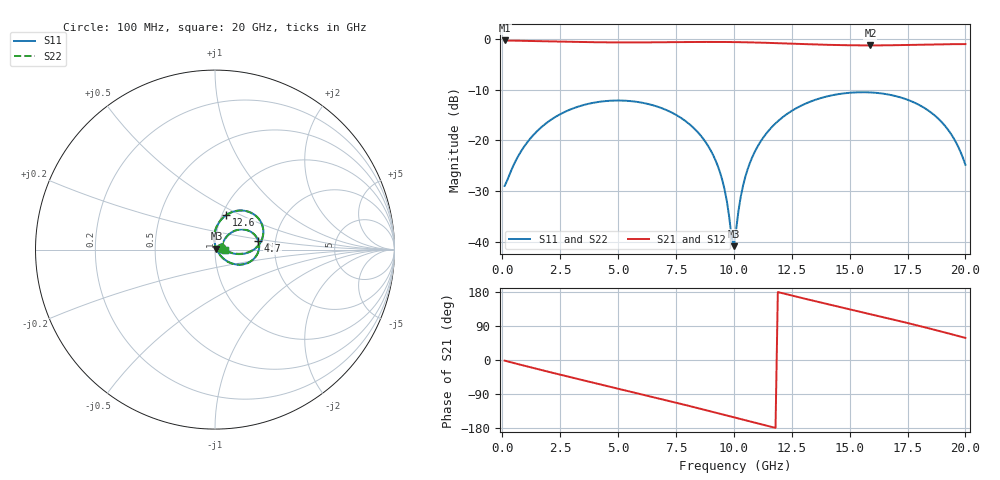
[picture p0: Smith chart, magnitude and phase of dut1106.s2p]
! Touchstone file exported from HFSS 2026.1.0
!  File:  C:/ffzhzh/LocalFiles/Ansys_Project_Files/temp_train_TSV_RDL_1106_1783304265_38704.aedt
!  Generated:  10:26:08 AM Jul  6, 2026
!  Design:  TSV_RDL
!  Project:  temp_train_TSV_RDL_1106_1783304265_38704
! Variables:
!  h_bsmrdl = 3.58um
!  h_ox = 20um
!  h_rdl = 5um
!  h_sub = 62.9um
!  h_tmrdl = 3.57um
!  h_tsv = 62.9um
!  h_via = 3um
!  l_bsmrdl = 460.75um
!  l_sub = 4449.73um
!  l_tmrdl = 647.58um
!  m_sub = 200um
!  pitch = 24.69um
!  r_tsv = 11.22um
!  s_tmrdl = 10um
!  w_bsmrdl = 15.72um
!  w_sub = 500um
!  w_tmrdl = 10um
!  x_tsv_center1 = 652.58um
!  x_tsv_center2 = 1129.05um
!  x_tsv_center3 = 1786.63um
!  x_tsv_center4 = 2263.1um
!  x_tsv_center5 = 2920.68um
!  x_tsv_center6 = 3397.15um
# GHz S MA R 50.000000
! Terminal data exported
! Port[1] = TM_RDL1_1_T1
! Port[2] = TM_RDL5_1_T1
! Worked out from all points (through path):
!   200 points, 100 MHz to 20 GHz, reference 50 ohm
!   highest |S21| = -0.30 dB at 100 MHz (marker M1); lowest = -1.3 dB at 15.9 GHz (marker M2)
!   group delay of S21, straight-line fit = 41.7 ps
!   lowest |S11| = -40.8 dB at 10 GHz (marker M3), VSWR 1.02, Z = 50.8 + j0.49 ohm
!   |S11| at or under -10 dB: start of sweep to end of sweep
!   |S22| runs from -41.4 to -10.5 dB; largest |S21 - S12| = 1.7e-14
!   S11 on the Smith chart (normalised r, x): 100 MHz: 1.07, +0.02; 4.7 GHz: 1.63, +0.16; 12.6 GHz: 1.05, +0.42; 20 GHz: 1.12, -0.01
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0.1  0.03566 13.9  0.9656 -1.7  0.9656 -1.7  0.03566 13.9
! Gamma 0 0 0 0
! Port Impedance 50 0 50 0
0.7  0.07093 45.2  0.959 -11.2  0.959 -11.2  0.07094 45.2
1.4  0.1168 47.5  0.9524 -22.0  0.9524 -22.0  0.1168 47.5
3.5  0.2229 26.4  0.9314 -53.6  0.9314 -53.6  0.2229 26.4
4.7  0.2462 10.9  0.9241 -71.1  0.9241 -71.1  0.2463 10.8
6.8  0.2114 -17.5  0.9264 -102.0  0.9264 -102.0  0.2114 -17.6
8.1  0.1434 -35.1  0.9323 -121.7  0.9323 -121.7  0.1435 -35.3
9  0.07981 -45.6  0.934 -135.6  0.934 -135.6  0.07982 -46.0
9.6  0.03287 -45.3  0.9328 -145.0  0.9328 -145.0  0.03279 -46.2
9.9  0.0113 -13.1  0.9313 -149.7  0.9313 -149.7  0.0109 -15.2
10  0.009086 32.1  0.9307 -151.2  0.9307 -151.2  0.008498 32.2
10.1  0.01329 68.9  0.93 -152.8  0.93 -152.8  0.01283 70.6
10.4  0.03604 92.4  0.9276 -157.5  0.9276 -157.5  0.03581 93.4
10.9  0.07692 92.7  0.9222 -165.3  0.9222 -165.3  0.07676 93.2
11.6  0.1323 85.1  0.9126 -176.1  0.9126 -176.1  0.1321 85.4
12.6  0.2018 72.0  0.8963 168.7  0.8963 168.7  0.2016 72.2
13.4  0.2457 61.2  0.8835 156.9  0.8835 156.9  0.2456 61.4
15.9  0.2971 28.2  0.8632 121.0  0.8632 121.0  0.2969 28.4
16.7  0.2826 17.8  0.8655 109.4  0.8655 109.4  0.2824 18.1
18.8  0.1663 -7.7  0.8836 77.6  0.8836 77.6  0.1662 -7.2
19.5  0.1045 -12.0  0.8881 66.4  0.8881 66.4  0.1047 -11.2
20  0.05761 -5.0  0.8891 58.3  0.8891 58.3  0.05814 -3.5
